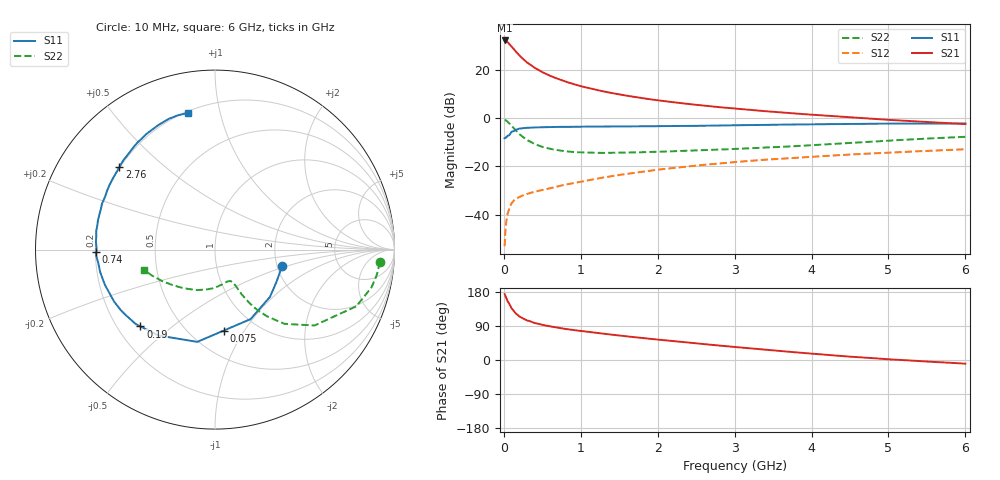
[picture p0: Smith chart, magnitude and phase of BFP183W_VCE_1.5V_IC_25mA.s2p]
! Infineon Technologies  Discrete & RF Semiconductors
! BFP183W
! VCE = 1.5 V,  IC =  25 mA
! Common Emitter S-Parameters:  Jan 2016
# GHz  S  MA  R  50
!  f  S11  S21  S12  S22
! GHz  MAG  ANG  MAG  ANG  MAG  ANG  MAG  ANG
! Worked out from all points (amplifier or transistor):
!   210 points, 10 MHz to 6 GHz, reference 50 ohm
!   highest |S21| = 32.3 dB at 10 MHz (marker M1)
!   |S21| within 3 dB of that: start of sweep to 113.9 MHz
!   unconditionally stable (mu >= 1): 604 MHz to end of sweep
!   at 185 MHz: K = 0.46, MSG = 29.8 dB, |S12| = -33.0 dB
!   at 1.52 GHz: K = 1.27, MAG = 13.5 dB, |S12| = -23.5 dB
!   at 6 GHz: K = 1.02, MAG = 4.3 dB, |S12| = -12.9 dB
!   S11 on the Smith chart (normalised r, x): 10 MHz: 2.12, -0.46; 75 MHz: 0.72, -0.82; 190 MHz: 0.29, -0.39; 740 MHz: 0.20, -0.01; 2.76 GHz: 0.20, +0.36; 6 GHz: 0.21, +0.80
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0.01  0.3844 -13.9  41.2 174.1  0.0022 87.6  0.9223 -4.3
0.03  0.404 -40.7  40.36 164.5  0.0067 75.2  0.8967 -13.6
0.05  0.4351 -62.9  37.96 154.8  0.0106 69.7  0.8482 -21.9
0.075  0.4535 -83.7  34.05 146.5  0.0138 61.7  0.766 -28.8
0.1  0.5236 -100.9  31.02 136.4  0.0171 56.7  0.6977 -37.3
0.15  0.5731 -123.4  24.83 123.5  0.0211 49.0  0.5663 -46.9
0.19  0.5968 -134.2  21.1 117.1  0.0226 45.9  0.4891 -50.9
0.2  0.6059 -136.8  20.22 115.1  0.023 45.2  0.4702 -52.1
0.24  0.6183 -144.4  17.6 110.5  0.0248 44.5  0.4162 -54.7
0.28  0.6275 -150.1  15.44 106.5  0.0261 44.3  0.3732 -56.4
0.3  0.6321 -152.7  14.44 104.5  0.0267 44.3  0.3536 -57.2
0.4  0.6439 -162.1  11.15 97.6  0.0297 45.0  0.2911 -59.2
0.6  0.6546 -173.4  7.608 88.6  0.0351 49.4  0.2312 -60.3
0.74  0.6617 -178.8  6.256 84.0  0.0397 51.8  0.2124 -61.4
1.02  0.666 173.2  4.546 76.1  0.0487 55.3  0.1948 -64.3
1.4  0.6731 164.3  3.339 66.8  0.0625 57.5  0.1912 -70.0
2.02  0.6844 152.0  2.336 53.5  0.0858 57.4  0.2012 -82.2
2.76  0.7041 139.2  1.721 38.9  0.1136 54.3  0.2216 -98.4
3.1  0.716 133.7  1.537 32.6  0.1264 52.3  0.2334 -106.6
4.1  0.7508 119.5  1.155 15.4  0.1621 45.8  0.2809 -130.8
5.1  0.7732 108.6  0.906 0.8  0.1961 38.9  0.3492 -151.0
6  0.7773 101.3  0.755 -9.7  0.2265 32.8  0.4113 -164.1
